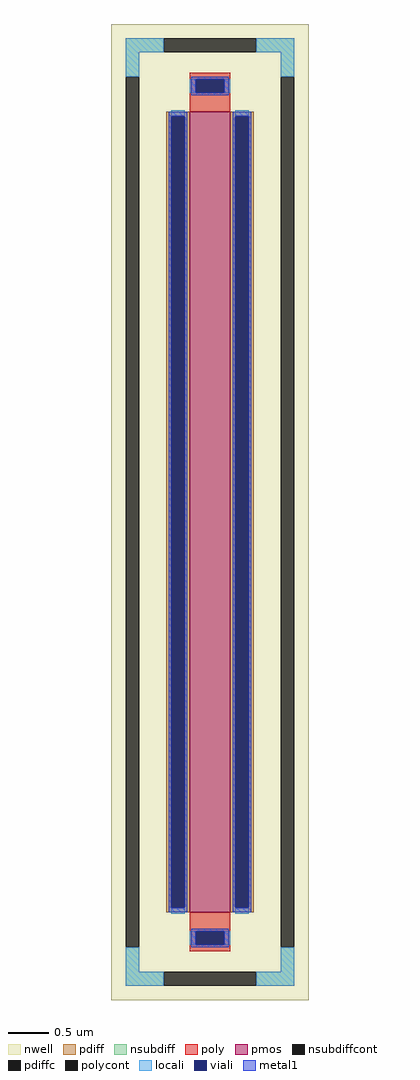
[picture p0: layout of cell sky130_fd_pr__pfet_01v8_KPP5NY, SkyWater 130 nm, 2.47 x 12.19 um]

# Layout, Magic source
magic
tech sky130A
magscale 1 2
<< nwell >>
rect -247 -1219 247 1219
<< pmos >>
rect -51 -1000 51 1000
<< pdiff >>
rect -109 988 -51 1000
rect -109 -988 -97 988
rect -63 -988 -51 988
rect -109 -1000 -51 -988
rect 51 988 109 1000
rect 51 -988 63 988
rect 97 -988 109 988
rect 51 -1000 109 -988
<< pdiffc >>
rect -97 -988 -63 988
rect 63 -988 97 988
<< nsubdiff >>
rect -211 1149 -115 1183
rect 115 1149 211 1183
rect -211 1087 -177 1149
rect 177 1087 211 1149
rect -211 -1149 -177 -1087
rect 177 -1149 211 -1087
rect -211 -1183 -115 -1149
rect 115 -1183 211 -1149
<< nsubdiffcont >>
rect -115 1149 115 1183
rect -211 -1087 -177 1087
rect 177 -1087 211 1087
rect -115 -1183 115 -1149
<< poly >>
rect -51 1081 51 1097
rect -51 1047 -35 1081
rect 35 1047 51 1081
rect -51 1000 51 1047
rect -51 -1047 51 -1000
rect -51 -1081 -35 -1047
rect 35 -1081 51 -1047
rect -51 -1097 51 -1081
<< polycont >>
rect -35 1047 35 1081
rect -35 -1081 35 -1047
<< locali >>
rect -211 1149 -115 1183
rect 115 1149 211 1183
rect -211 1087 -177 1149
rect 177 1087 211 1149
rect -51 1047 -35 1081
rect 35 1047 51 1081
rect -97 988 -63 1004
rect -97 -1004 -63 -988
rect 63 988 97 1004
rect 63 -1004 97 -988
rect -51 -1081 -35 -1047
rect 35 -1081 51 -1047
rect -211 -1149 -177 -1087
rect 177 -1149 211 -1087
rect -211 -1183 -115 -1149
rect 115 -1183 211 -1149
<< viali >>
rect -35 1047 35 1081
rect -97 -988 -63 988
rect 63 -988 97 988
rect -35 -1081 35 -1047
<< metal1 >>
rect -47 1081 47 1087
rect -47 1047 -35 1081
rect 35 1047 47 1081
rect -47 1041 47 1047
rect -103 988 -57 1000
rect -103 -988 -97 988
rect -63 -988 -57 988
rect -103 -1000 -57 -988
rect 57 988 103 1000
rect 57 -988 63 988
rect 97 -988 103 988
rect 57 -1000 103 -988
rect -47 -1047 47 -1041
rect -47 -1081 -35 -1047
rect 35 -1081 47 -1047
rect -47 -1087 47 -1081
<< properties >>
string FIXED_BBOX -194 -1166 194 1166
string gencell sky130_fd_pr__pfet_01v8
string library sky130
string parameters w 10 l 0.505 m 1 nf 1 diffcov 100 polycov 100 guard 1 glc 1 grc 1 gtc 1 gbc 1 tbcov 100 rlcov 100 topc 1 botc 1 poverlap 0 doverlap 1 lmin 0.15 wmin 0.42 compatible {sky130_fd_pr__pfet_01v8  sky130_fd_pr__pfet_01v8_lvt sky130_fd_pr__pfet_01v8_hvt  sky130_fd_pr__pfet_g5v0d10v5} full_metal 1 viasrc 100 viadrn 100 viagate 100 viagb 0 viagr 0 viagl 0 viagt 0
<< end >>
